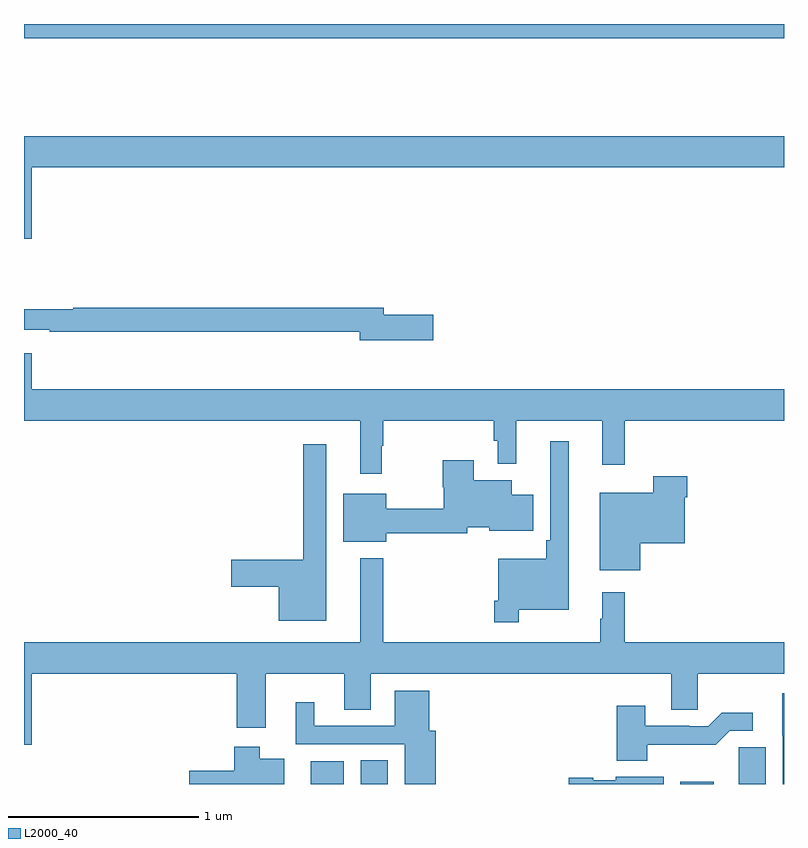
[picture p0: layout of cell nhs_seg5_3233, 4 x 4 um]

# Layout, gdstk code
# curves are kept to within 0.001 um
import gdstk
lib = gdstk.Library(unit=1e-6, precision=1e-09)
def R(c, l, rs):  # rectangles x0, y0, x1, y1
    for r in rs: c.add(gdstk.rectangle(r[:2], r[2:], *l))
def P(c, l, *ps):  # polygons
    for p in ps: c.add(gdstk.Polygon(p, *l))
L2000_40 = (2000, 40)

nhs_seg5_3233 = lib.new_cell('nhs_seg5_3233')
R(nhs_seg5_3233, L2000_40, [(298.508,902.799,298.684,902.92), (298.772,902.799,298.915,902.924), (300.453,902.799,300.631,902.812), (297,906.724,301,906.799)])
P(nhs_seg5_3233, L2000_40, [(297.04,906.044),(301,906.044),(301,906.208),(297,906.208),(297,905.67),(297.04,905.67)],
  [(299.155,905.27),(298.894,905.27),(298.894,905.306),(297.26,905.306),(297.26,905.299),(297,905.299),(297,905.19),(297.136,905.19),(297.136,905.178),(298.766,905.178),(298.766,905.135),(299.155,905.135)],
  [(298.883,904.58),(298.891,904.58),(298.891,904.712),(299.473,904.712),(299.473,904.605),(299.493,904.605),(299.493,904.484),(299.591,904.484),(299.591,904.712),(300.044,904.712),(300.044,904.479),(300.161,904.479),(300.161,904.712),(301,904.712),(301,904.876),(297.04,904.876),(297.04,905.065),(297,905.065),(297,904.712),(298.769,904.712),(298.769,904.431),(298.883,904.431)],
  [(299.605,903.716),(299.866,903.716),(299.866,904.603),(299.769,904.603),(299.769,904.081),(299.749,904.081),(299.749,903.985),(299.496,903.985),(299.496,903.763),(299.476,903.763),(299.476,903.651),(299.605,903.651)],
  [(298.591,904.588),(298.47,904.588),(298.47,903.98),(298.092,903.98),(298.092,903.838),(298.34,903.838),(298.34,903.659),(298.591,903.659)],
  [(298.906,904.12),(299.334,904.12),(299.334,904.151),(299.448,904.151),(299.448,904.133),(299.68,904.133),(299.68,904.321),(299.566,904.321),(299.566,904.399),(299.368,904.399),(299.368,904.504),(299.203,904.504),(299.203,904.362),(299.21,904.362),(299.21,904.249),(298.906,904.249),(298.906,904.327),(298.679,904.327),(298.679,904.073),(298.906,904.073)],
  [(300.244,904.067),(300.478,904.067),(300.478,904.307),(300.491,904.307),(300.491,904.42),(300.313,904.42),(300.313,904.333),(300.029,904.333),(300.029,903.923),(300.244,903.923)],
  [(297.04,903.38),(298.121,903.38),(298.121,903.096),(298.273,903.096),(298.273,903.38),(298.685,903.38),(298.685,903.19),(298.825,903.19),(298.825,903.38),(300.407,903.38),(300.407,903.19),(300.546,903.19),(300.546,903.38),(301,903.38),(301,903.544),(300.161,903.544),(300.161,903.808),(300.044,903.808),(300.044,903.668),(300.033,903.668),(300.033,903.544),(298.891,903.544),(298.891,903.988),(298.769,903.988),(298.769,903.544),(297,903.544),(297,903.006),(297.04,903.006)],
  [(299.167,903.079),(299.134,903.079),(299.134,903.289),(298.952,903.289),(298.952,903.105),(298.528,903.105),(298.528,903.229),(298.43,903.229),(298.43,903.009),(299.004,903.009),(299.004,902.799),(299.167,902.799)],
  [(301,903.277),(300.992,903.277),(300.992,903.054),(300.993,903.054),(300.993,902.799),(301,902.799)],
  [(300.279,903.006),(300.641,903.005),(300.714,903.078),(300.835,903.078),(300.835,903.175),(300.673,903.175),(300.6,903.102),(300.5,903.102),(300.5,903.105),(300.271,903.105),(300.271,903.211),(300.119,903.211),(300.119,902.921),(300.279,902.921)],
  [(298.369,902.932),(298.24,902.932),(298.24,902.995),(298.106,902.995),(298.106,902.87),(297.87,902.87),(297.87,902.799),(298.369,902.799)],
  [(300.904,902.993),(300.762,902.993),(300.762,902.882),(300.761,902.882),(300.761,902.799),(300.904,902.799)],
  [(300.368,902.836),(300.114,902.836),(300.114,902.818),(299.997,902.818),(299.997,902.831),(299.868,902.831),(299.868,902.799),(300.368,902.799)])

lib.write_gds('nhs_seg5_3233.gds')
